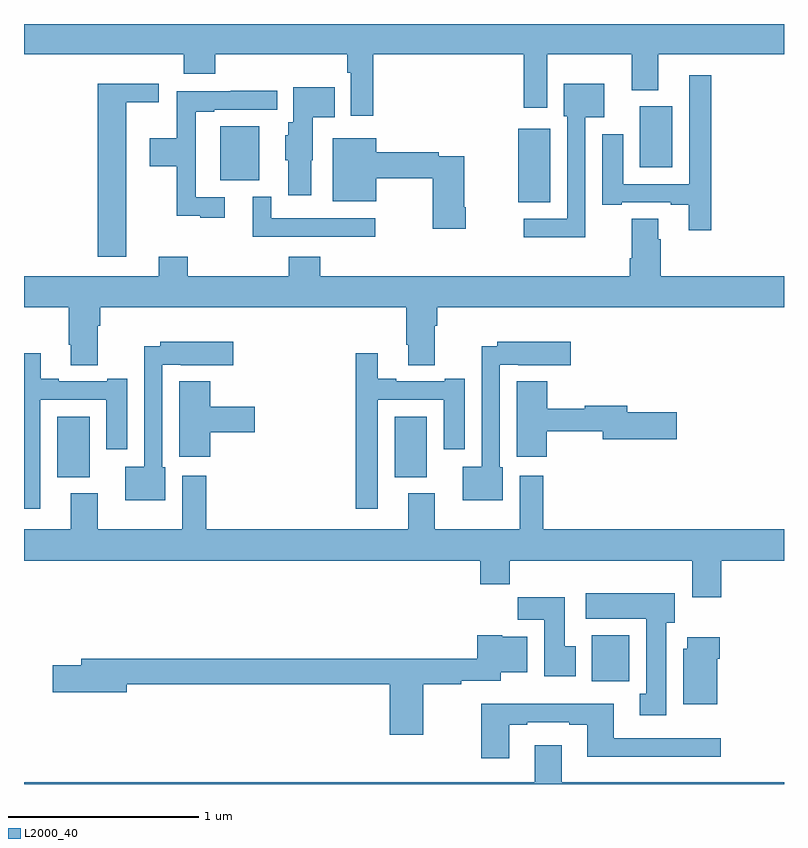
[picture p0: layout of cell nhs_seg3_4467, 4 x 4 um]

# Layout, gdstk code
import gdstk
lib = gdstk.Library(unit=1e-6, precision=1e-09)
def R(c, l, rs):  # rectangles x0, y0, x1, y1
    for r in rs: c.add(gdstk.rectangle(r[:2], r[2:], *l))
def P(c, l, *ps):  # polygons
    for p in ps: c.add(gdstk.Polygon(p, *l))
L2000_40 = (2000, 40)

nhs_seg3_4467 = lib.new_cell('nhs_seg3_4467')
R(nhs_seg3_4467, L2000_40, [(351.989,706.94,352.186,707.182), (349.175,708.014,349.345,708.334), (350.951,708.014,351.121,708.334), (351.602,709.463,351.769,709.849), (350.033,709.577,350.239,709.861), (352.241,709.646,352.411,709.966)])
P(nhs_seg3_4467, L2000_40, [(350.837,710.24),(351.629,710.24),(351.629,709.959),(351.754,709.959),(351.754,710.24),(352.199,710.24),(352.199,710.051),(352.339,710.051),(352.339,710.24),(353,710.24),(353,710.4),(349,710.4),(349,710.24),(349.841,710.24),(349.841,710.138),(350.006,710.138),(350.006,710.24),(350.701,710.24),(350.701,710.144),(350.721,710.144),(350.721,709.917),(350.837,709.917)],
  [(352.616,710.131),(352.5,710.131),(352.5,709.557),(352.153,709.557),(352.153,709.819),(352.043,709.819),(352.043,709.449),(352.147,709.449),(352.147,709.461),(352.403,709.461),(352.403,709.449),(352.499,709.449),(352.499,709.314),(352.616,709.314)],
  [(349.537,709.988),(349.708,709.988),(349.708,710.086),(349.388,710.086),(349.388,709.176),(349.537,709.176)],
  [(351.954,709.91),(352.054,709.91),(352.054,710.086),(351.842,710.086),(351.842,709.914),(351.858,709.914),(351.858,709.374),(351.63,709.374),(351.63,709.277),(351.954,709.277)],
  [(350.512,709.683),(350.521,709.683),(350.521,709.91),(350.636,709.91),(350.636,710.068),(350.417,710.068),(350.417,709.884),(350.39,709.884),(350.39,709.815),(350.375,709.815),(350.375,709.683),(350.39,709.683),(350.39,709.5),(350.512,709.5)],
  [(350.056,709.488),(349.905,709.488),(349.905,709.938),(350.002,709.938),(350.002,709.95),(350.332,709.95),(350.332,710.048),(350.089,710.048),(350.089,710.046),(349.804,710.046),(349.804,709.798),(349.662,709.798),(349.662,709.651),(349.804,709.651),(349.804,709.391),(349.928,709.391),(349.928,709.38),(350.056,709.38)],
  [(351.324,709.435),(351.316,709.435),(351.316,709.704),(351.182,709.704),(351.182,709.724),(350.854,709.724),(350.854,709.798),(350.624,709.798),(350.624,709.466),(350.854,709.466),(350.854,709.588),(351.151,709.588),(351.151,709.323),(351.324,709.323)],
  [(350.848,709.377),(350.301,709.377),(350.301,709.492),(350.204,709.492),(350.204,709.281),(350.848,709.281)],
  [(349.387,708.812),(349.4,708.812),(349.4,708.908),(351.011,708.908),(351.011,708.712),(351.023,708.712),(351.023,708.604),(351.163,708.604),(351.163,708.812),(351.176,708.812),(351.176,708.908),(353,708.908),(353,709.072),(352.352,709.072),(352.352,709.268),(352.339,709.268),(352.339,709.376),(352.199,709.376),(352.199,709.168),(352.187,709.168),(352.187,709.072),(350.558,709.072),(350.558,709.174),(350.393,709.174),(350.393,709.072),(349.862,709.072),(349.862,709.174),(349.709,709.174),(349.709,709.072),(349,709.072),(349,708.908),(349.235,708.908),(349.235,708.712),(349.247,708.712),(349.247,708.604),(349.387,708.604)],
  [(351.52,708.066),(351.504,708.066),(351.504,708.606),(351.601,708.606),(351.601,708.605),(351.877,708.605),(351.877,708.727),(351.492,708.727),(351.492,708.704),(351.408,708.704),(351.408,708.07),(351.308,708.07),(351.308,707.894),(351.52,707.894)],
  [(349.744,708.066),(349.728,708.066),(349.728,708.606),(349.825,708.606),(349.825,708.605),(350.101,708.605),(350.101,708.727),(349.716,708.727),(349.716,708.704),(349.632,708.704),(349.632,708.07),(349.532,708.07),(349.532,707.894),(349.744,707.894)],
  [(350.862,708.423),(351.209,708.423),(351.209,708.162),(351.319,708.162),(351.319,708.532),(351.215,708.532),(351.215,708.519),(350.959,708.519),(350.959,708.532),(350.863,708.532),(350.863,708.667),(350.746,708.667),(350.746,707.85),(350.862,707.85)],
  [(349.086,708.423),(349.433,708.423),(349.433,708.162),(349.543,708.162),(349.543,708.532),(349.439,708.532),(349.439,708.519),(349.183,708.519),(349.183,708.532),(349.087,708.532),(349.087,708.667),(349,708.667),(349,707.85),(349.086,707.85)],
  [(349.979,708.251),(350.215,708.251),(350.215,708.385),(349.979,708.385),(349.979,708.52),(349.817,708.52),(349.817,708.123),(349.979,708.123)],
  [(351.75,708.256),(352.046,708.256),(352.046,708.214),(352.435,708.214),(352.435,708.356),(352.174,708.356),(352.174,708.392),(351.95,708.392),(351.95,708.375),(351.755,708.375),(351.755,708.52),(351.593,708.52),(351.593,708.123),(351.75,708.123)],
  [(352.67,707.576),(353,707.576),(353,707.74),(351.734,707.74),(351.734,708.022),(351.608,708.022),(351.608,707.74),(351.163,707.74),(351.163,707.929),(351.023,707.929),(351.023,707.74),(349.958,707.74),(349.958,708.022),(349.832,708.022),(349.832,707.74),(349.387,707.74),(349.387,707.929),(349.247,707.929),(349.247,707.74),(349,707.74),(349,707.576),(351.401,707.576),(351.401,707.452),(351.557,707.452),(351.557,707.576),(352.517,707.576),(352.517,707.382),(352.67,707.382)],
  [(352.381,707.25),(352.426,707.25),(352.426,707.404),(351.957,707.404),(351.957,707.27),(352.274,707.27),(352.274,706.874),(352.241,706.874),(352.241,706.761),(352.381,706.761)],
  [(351.904,707.124),(351.847,707.124),(351.847,707.383),(351.598,707.383),(351.598,707.264),(351.737,707.264),(351.737,706.968),(351.904,706.968)],
  [(351.102,706.924),(351.302,706.924),(351.302,706.944),(351.508,706.944),(351.508,706.988),(351.649,706.988),(351.649,707.176),(351.516,707.176),(351.516,707.182),(351.386,707.182),(351.386,707.06),(349.301,707.06),(349.301,707.024),(349.152,707.024),(349.152,706.882),(349.54,706.882),(349.54,706.924),(350.924,706.924),(350.924,706.659),(351.102,706.659)],
  [(352.648,707.06),(352.661,707.06),(352.661,707.173),(352.49,707.173),(352.49,707.112),(352.469,707.112),(352.469,706.82),(352.648,706.82)],
  [(351.553,706.713),(351.649,706.713),(351.649,706.725),(351.869,706.725),(351.869,706.713),(351.965,706.713),(351.965,706.544),(352.666,706.544),(352.666,706.641),(352.105,706.641),(352.105,706.822),(351.406,706.822),(351.406,706.536),(351.553,706.536)],
  [(353,706.408),(351.829,706.408),(351.829,706.603),(351.689,706.603),(351.689,706.408),(349,706.408),(349,706.4),(353,706.4)])

lib.write_gds('nhs_seg3_4467.gds')
